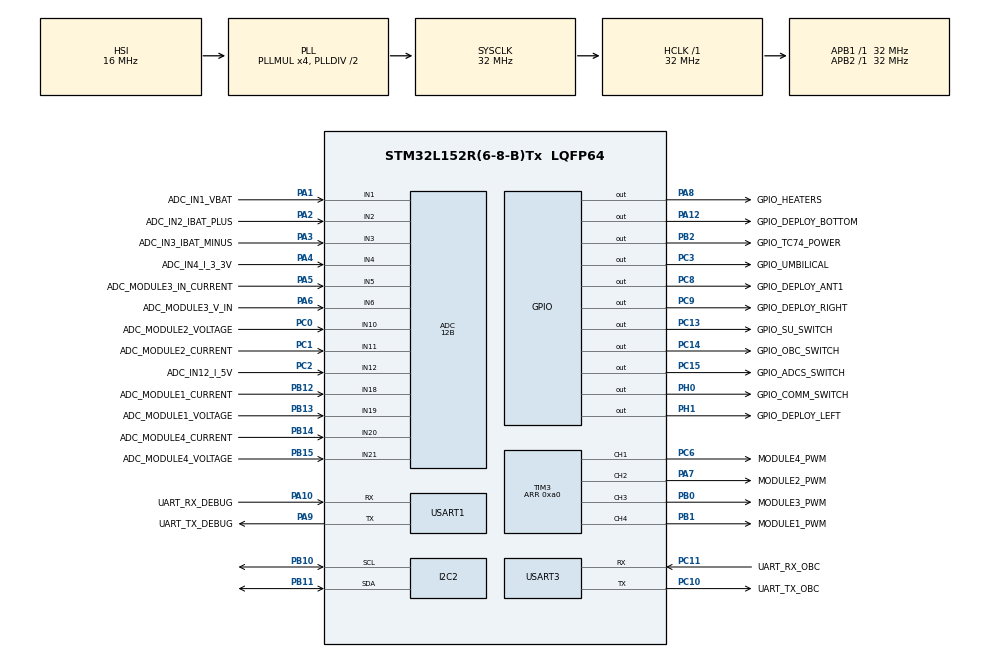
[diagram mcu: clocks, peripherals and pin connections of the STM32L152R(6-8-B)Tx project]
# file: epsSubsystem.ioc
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ADC.Channel-18\#ChannelRegularConversion=ADC_CHANNEL_11
ADC.Channel-19\#ChannelRegularConversion=ADC_CHANNEL_10
ADC.Channel-20\#ChannelRegularConversion=ADC_CHANNEL_5
ADC.Channel-21\#ChannelRegularConversion=ADC_CHANNEL_6
ADC.Channel-22\#ChannelRegularConversion=ADC_CHANNEL_20
ADC.Channel-23\#ChannelRegularConversion=ADC_CHANNEL_21
ADC.Channel-24\#ChannelRegularConversion=ADC_CHANNEL_1
ADC.Channel-25\#ChannelRegularConversion=ADC_CHANNEL_2
ADC.Channel-26\#ChannelRegularConversion=ADC_CHANNEL_3
ADC.Channel-27\#ChannelRegularConversion=ADC_CHANNEL_4
ADC.Channel-28\#ChannelRegularConversion=ADC_CHANNEL_12
ADC.Channel-29\#ChannelRegularConversion=ADC_CHANNEL_TEMPSENSOR
ADC.Channel-4\#ChannelRegularConversion=ADC_CHANNEL_18
ADC.Channel-5\#ChannelRegularConversion=ADC_CHANNEL_19
ADC.ClockPrescaler=ADC_CLOCK_ASYNC_DIV1
ADC.ContinuousConvMode=ENABLE
ADC.DMAContinuousRequests=ENABLE
ADC.DataAlign=ADC_DATAALIGN_RIGHT
ADC.DiscontinuousConvMode=DISABLE
ADC.EOCSelection=ADC_EOC_SINGLE_CONV
ADC.EnableAnalogWatchDog=false
ADC.ExternalTrigConvEdge=ADC_EXTERNALTRIGCONVEDGE_NONE
ADC.InjNumberOfConversion=0
ADC.LowPowerAutoPowerOff=ADC_AUTOPOWEROFF_DISABLE
ADC.LowPowerAutoWait=ADC_AUTOWAIT_DISABLE
ADC.NbrOfConversion=14
ADC.NbrOfConversionFlag=1
ADC.Rank-18\#ChannelRegularConversion=3
ADC.Rank-19\#ChannelRegularConversion=4
ADC.Rank-20\#ChannelRegularConversion=5
ADC.Rank-21\#ChannelRegularConversion=6
ADC.Rank-22\#ChannelRegularConversion=7
ADC.Rank-23\#ChannelRegularConversion=8
ADC.Rank-24\#ChannelRegularConversion=9
ADC.Rank-25\#ChannelRegularConversion=10
ADC.Rank-26\#ChannelRegularConversion=11
ADC.Rank-27\#ChannelRegularConversion=12
ADC.Rank-28\#ChannelRegularConversion=13
ADC.Rank-29\#ChannelRegularConversion=14
ADC.Rank-4\#ChannelRegularConversion=1
ADC.Rank-5\#ChannelRegularConversion=2
ADC.Resolution=ADC_RESOLUTION_12B
ADC.SamplingTime-18\#ChannelRegularConversion=ADC_SAMPLETIME_4CYCLES
ADC.SamplingTime-19\#ChannelRegularConversion=ADC_SAMPLETIME_4CYCLES
ADC.SamplingTime-20\#ChannelRegularConversion=ADC_SAMPLETIME_4CYCLES
ADC.SamplingTime-21\#ChannelRegularConversion=ADC_SAMPLETIME_4CYCLES
ADC.SamplingTime-22\#ChannelRegularConversion=ADC_SAMPLETIME_4CYCLES
ADC.SamplingTime-23\#ChannelRegularConversion=ADC_SAMPLETIME_4CYCLES
ADC.SamplingTime-24\#ChannelRegularConversion=ADC_SAMPLETIME_4CYCLES
ADC.SamplingTime-25\#ChannelRegularConversion=ADC_SAMPLETIME_4CYCLES
ADC.SamplingTime-26\#ChannelRegularConversion=ADC_SAMPLETIME_4CYCLES
ADC.SamplingTime-27\#ChannelRegularConversion=ADC_SAMPLETIME_4CYCLES
ADC.SamplingTime-28\#ChannelRegularConversion=ADC_SAMPLETIME_4CYCLES
ADC.SamplingTime-29\#ChannelRegularConversion=ADC_SAMPLETIME_4CYCLES
ADC.SamplingTime-4\#ChannelRegularConversion=ADC_SAMPLETIME_4CYCLES
ADC.SamplingTime-5\#ChannelRegularConversion=ADC_SAMPLETIME_4CYCLES
ADC.ScanConvMode=ADC_SCAN_ENABLE
Dma.ADC.0.Direction=DMA_PERIPH_TO_MEMORY
Dma.ADC.0.Instance=DMA1_Channel1
Dma.ADC.0.MemDataAlignment=DMA_MDATAALIGN_WORD
Dma.ADC.0.MemInc=DMA_MINC_ENABLE
Dma.ADC.0.Mode=DMA_CIRCULAR
Dma.ADC.0.PeriphDataAlignment=DMA_PDATAALIGN_WORD
Dma.ADC.0.PeriphInc=DMA_PINC_DISABLE
Dma.ADC.0.Priority=DMA_PRIORITY_HIGH
Dma.Request0=ADC
Dma.Request1=USART1_RX
Dma.Request2=USART1_TX
Dma.Request3=USART3_RX
Dma.Request4=USART3_TX
Dma.USART1_RX.1.Direction=DMA_PERIPH_TO_MEMORY
Dma.USART1_RX.1.Instance=DMA1_Channel5
Dma.USART1_RX.1.MemDataAlignment=DMA_MDATAALIGN_BYTE
Dma.USART1_RX.1.MemInc=DMA_MINC_ENABLE
Dma.USART1_RX.1.Mode=DMA_NORMAL
Dma.USART1_RX.1.PeriphDataAlignment=DMA_PDATAALIGN_BYTE
Dma.USART1_RX.1.PeriphInc=DMA_PINC_DISABLE
Dma.USART1_RX.1.Priority=DMA_PRIORITY_LOW
Dma.USART1_TX.2.Direction=DMA_MEMORY_TO_PERIPH
Dma.USART1_TX.2.Instance=DMA1_Channel4
Dma.USART1_TX.2.MemDataAlignment=DMA_MDATAALIGN_BYTE
Dma.USART1_TX.2.MemInc=DMA_MINC_ENABLE
Dma.USART1_TX.2.Mode=DMA_NORMAL
Dma.USART1_TX.2.PeriphDataAlignment=DMA_PDATAALIGN_BYTE
Dma.USART1_TX.2.PeriphInc=DMA_PINC_DISABLE
Dma.USART1_TX.2.Priority=DMA_PRIORITY_LOW
Dma.USART3_RX.3.Direction=DMA_PERIPH_TO_MEMORY
Dma.USART3_RX.3.Instance=DMA1_Channel3
Dma.USART3_RX.3.MemDataAlignment=DMA_MDATAALIGN_BYTE
Dma.USART3_RX.3.MemInc=DMA_MINC_ENABLE
Dma.USART3_RX.3.Mode=DMA_NORMAL
Dma.USART3_RX.3.PeriphDataAlignment=DMA_PDATAALIGN_BYTE
Dma.USART3_RX.3.PeriphInc=DMA_PINC_DISABLE
Dma.USART3_RX.3.Priority=DMA_PRIORITY_LOW
Dma.USART3_TX.4.Direction=DMA_MEMORY_TO_PERIPH
Dma.USART3_TX.4.Instance=DMA1_Channel2
Dma.USART3_TX.4.MemDataAlignment=DMA_MDATAALIGN_BYTE
Dma.USART3_TX.4.MemInc=DMA_MINC_ENABLE
Dma.USART3_TX.4.Mode=DMA_NORMAL
Dma.USART3_TX.4.PeriphDataAlignment=DMA_PDATAALIGN_BYTE
Dma.USART3_TX.4.PeriphInc=DMA_PINC_DISABLE
Dma.USART3_TX.4.Priority=DMA_PRIORITY_LOW
Mcu.Family=STM32L1
Mcu.Name=STM32L152R(6-8-B)Tx
Mcu.Package=LQFP64
NVIC.ADC1_IRQn=true\:0\:0\:false\:false\:true
NVIC.DMA1_Channel1_IRQn=true\:0\:0\:false\:false\:true
NVIC.DMA1_Channel2_IRQn=true\:0\:0\:false\:false\:true
NVIC.DMA1_Channel3_IRQn=true\:0\:0\:false\:false\:true
NVIC.DMA1_Channel4_IRQn=true\:0\:0\:false\:false\:true
NVIC.DMA1_Channel5_IRQn=true\:0\:0\:false\:false\:true
NVIC.PriorityGroup=NVIC_PRIORITYGROUP_4
NVIC.TIM6_IRQn=true\:0\:0\:false\:false\:true
PA1.GPIO_Label=ADC_IN1_VBAT
PA1.Mode=IN1
PA1.Signal=ADC_IN1
PA10.GPIO_Label=UART_RX_DEBUG
PA10.Mode=Asynchronous
PA10.Signal=USART1_RX
PA12.GPIO_Label=GPIO_DEPLOY_BOTTOM
PA12.Signal=GPIO_Output
PA13.Mode=Trace-Asynchronous_SW
PA13.Signal=SYS_JTMS-SWDIO
PA14.Mode=Trace-Asynchronous_SW
PA14.Signal=SYS_JTCK-SWCLK
PA2.GPIO_Label=ADC_IN2_IBAT_PLUS
PA2.Mode=IN2
PA2.Signal=ADC_IN2
PA3.GPIO_Label=ADC_IN3_IBAT_MINUS
PA3.Mode=IN3
PA3.Signal=ADC_IN3
PA4.GPIO_Label=ADC_IN4_I_3_3V
PA4.Mode=IN4
PA4.Signal=ADC_IN4
PA5.GPIO_Label=ADC_MODULE3_IN_CURRENT
PA5.Mode=IN5
PA5.Signal=ADC_IN5
PA6.GPIO_Label=ADC_MODULE3_V_IN
PA6.Mode=IN6
PA6.Signal=ADC_IN6
PA7.GPIO_Label=MODULE2_PWM
PA7.Signal=S_TIM3_CH2
PA8.GPIO_Label=GPIO_HEATERS
PA8.Signal=GPIO_Output
PA9.GPIO_Label=UART_TX_DEBUG
PA9.Mode=Asynchronous
PA9.Signal=USART1_TX
PB0.GPIO_Label=MODULE3_PWM
PB0.Signal=S_TIM3_CH3
PB1.GPIO_Label=MODULE1_PWM
PB1.Signal=S_TIM3_CH4
PB10.Mode=I2C
PB10.Signal=I2C2_SCL
PB11.Mode=I2C
PB11.Signal=I2C2_SDA
PB12.GPIO_Label=ADC_MODULE1_CURRENT
PB12.Mode=IN18
PB12.Signal=ADC_IN18
PB13.GPIO_Label=ADC_MODULE1_VOLTAGE
PB13.Mode=IN19
PB13.Signal=ADC_IN19
PB14.GPIO_Label=ADC_MODULE4_CURRENT
PB14.Mode=IN20
PB14.Signal=ADC_IN20
PB15.GPIO_Label=ADC_MODULE4_VOLTAGE
PB15.Mode=IN21
PB15.Signal=ADC_IN21
PB2.GPIO_Label=GPIO_TC74_POWER
PB2.Signal=GPIO_Output
PB3.Mode=Trace-Asynchronous_SW
PB3.Signal=SYS_JTDO-TRACESWO
PC0.GPIO_Label=ADC_MODULE2_VOLTAGE
PC0.Mode=IN10
PC0.Signal=ADC_IN10
PC1.GPIO_Label=ADC_MODULE2_CURRENT
PC1.Mode=IN11
PC1.Signal=ADC_IN11
PC10.GPIO_Label=UART_TX_OBC
PC10.Mode=Asynchronous
PC10.Signal=USART3_TX
PC11.GPIO_Label=UART_RX_OBC
PC11.Mode=Asynchronous
PC11.Signal=USART3_RX
PC13-WKUP2.GPIO_Label=GPIO_SU_SWITCH
PC13-WKUP2.Signal=GPIO_Output
PC14-OSC32_IN.GPIO_Label=GPIO_OBC_SWITCH
PC14-OSC32_IN.Signal=GPIO_Output
PC15-OSC32_OUT.GPIO_Label=GPIO_ADCS_SWITCH
PC15-OSC32_OUT.Signal=GPIO_Output
PC2.GPIO_Label=ADC_IN12_I_5V
PC2.Mode=IN12
PC2.Signal=ADC_IN12
PC3.GPIO_Label=GPIO_UMBILICAL
PC3.Signal=GPIO_Output
PC6.GPIO_Label=MODULE4_PWM
PC6.Signal=S_TIM3_CH1
PC8.GPIO_Label=GPIO_DEPLOY_ANT1
PC8.Signal=GPIO_Output
PC9.GPIO_Label=GPIO_DEPLOY_RIGHT
PC9.Signal=GPIO_Output
PH0-OSC_IN.GPIO_Label=GPIO_COMM_SWITCH
PH0-OSC_IN.Signal=GPIO_Output
PH1-OSC_OUT.GPIO_Label=GPIO_DEPLOY_LEFT
PH1-OSC_OUT.Signal=GPIO_Output
ProjectManager.HeapSize=0x400
ProjectManager.StackSize=0x200
ProjectManager.TargetToolchain=SW4STM32
RCC.AHBFreq_Value=32000000
RCC.APB1Freq_Value=32000000
RCC.APB1TimFreq_Value=32000000
RCC.APB2Freq_Value=32000000
RCC.APB2TimFreq_Value=32000000
RCC.HCLKFreq_Value=32000000
RCC.HSE_VALUE=24000000
RCC.HSI_VALUE=16000000
RCC.LSE_VALUE=32768
RCC.MSI_VALUE=2097000
RCC.PLLMUL=RCC_PLL_MUL4
RCC.SYSCLKFreq_VALUE=32000000
RCC.SYSCLKSource=RCC_SYSCLKSOURCE_PLLCLK
RCC.USBOutput=32000000
RCC.VCOOutputFreq_Value=64000000
SH.S_TIM3_CH1.0=TIM3_CH1,PWM Generation1 CH1
SH.S_TIM3_CH2.0=TIM3_CH2,PWM Generation2 CH2
SH.S_TIM3_CH3.0=TIM3_CH3,PWM Generation3 CH3
SH.S_TIM3_CH4.0=TIM3_CH4,PWM Generation4 CH4
TIM3.Channel-PWM\ Generation2\ CH2=TIM_CHANNEL_2
TIM3.Channel-PWM\ Generation3\ CH3=TIM_CHANNEL_3
TIM3.Channel-PWM\ Generation4\ CH4=TIM_CHANNEL_4
TIM3.OCFastMode_PWM-PWM\ Generation1\ CH1=TIM_OCFAST_ENABLE
TIM3.OCFastMode_PWM-PWM\ Generation2\ CH2=TIM_OCFAST_ENABLE
TIM3.OCFastMode_PWM-PWM\ Generation3\ CH3=TIM_OCFAST_ENABLE
TIM3.OCFastMode_PWM-PWM\ Generation4\ CH4=TIM_OCFAST_ENABLE
TIM3.Period=0xa0
TIM3.Pulse-PWM\ Generation1\ CH1=0x50
TIM3.Pulse-PWM\ Generation2\ CH2=0x50
TIM3.Pulse-PWM\ Generation3\ CH3=0x50
TIM3.Pulse-PWM\ Generation4\ CH4=0x50
TIM6.Period=50000
TIM6.Prescaler=640
VP_ADC_TempSens_Input.Mode=IN-TempSens
VP_TIM6_VS_ClockSourceINT.Mode=Enable_Timer
board=EpsBoardTest

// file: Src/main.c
/**
  ******************************************************************************
  * File Name          : main.c
  * Description        : Main program body
  ******************************************************************************
  *
  * COPYRIGHT(c) 2016 STMicroelectronics
  *
  * Redistribution and use in source and binary forms, with or without modification,
  * are permitted provided that the following conditions are met:
  *   1. Redistributions of source code must retain the above copyright notice,
  *      this list of conditions and the following disclaimer.
  *   2. Redistributions in binary form must reproduce the above copyright notice,
  *      this list of conditions and the following disclaimer in the documentation
  *      and/or other materials provided with the distribution.
  *   3. Neither the name of STMicroelectronics nor the names of its contributors
  *      may be used to endorse or promote products derived from this software
  *      without specific prior written permission.
  *
  * THIS SOFTWARE IS PROVIDED BY THE COPYRIGHT HOLDERS AND CONTRIBUTORS "AS IS"
  * AND ANY EXPRESS OR IMPLIED WARRANTIES, INCLUDING, BUT NOT LIMITED TO, THE
  * IMPLIED WARRANTIES OF MERCHANTABILITY AND FITNESS FOR A PARTICULAR PURPOSE ARE
  * DISCLAIMED. IN NO EVENT SHALL THE COPYRIGHT HOLDER OR CONTRIBUTORS BE LIABLE
  * FOR ANY DIRECT, INDIRECT, INCIDENTAL, SPECIAL, EXEMPLARY, OR CONSEQUENTIAL
  * DAMAGES (INCLUDING, BUT NOT LIMITED TO, PROCUREMENT OF SUBSTITUTE GOODS OR
  * SERVICES; LOSS OF USE, DATA, OR PROFITS; OR BUSINESS INTERRUPTION) HOWEVER
  * CAUSED AND ON ANY THEORY OF LIABILITY, WHETHER IN CONTRACT, STRICT LIABILITY,
  * OR TORT (INCLUDING NEGLIGENCE OR OTHERWISE) ARISING IN ANY WAY OUT OF THE USE
  * OF THIS SOFTWARE, EVEN IF ADVISED OF THE POSSIBILITY OF SUCH DAMAGE.
  *
  ******************************************************************************
  */
#include "stm32l1xx_hal.h"

/* USER CODE BEGIN Includes */
#define TIMED_EVENT_PERIOD ((uint8_t)50)//in miliseconds
#define MPPT_STEP_SIZE ((uint32_t)2)
#define STARTUP_PWM_DUTYCYCLE ((uint32_t) 50)

typedef struct {
	uint8_t su_p_switch;/*Science unit control switch - set to turn off - reset to turn on (!inverted logic!)*/
	uint8_t obc_p_switch;
	uint8_t adcs_p_switch;
	uint8_t comm_p_switch;
	uint8_t i2c_tc74_p_switch;
	/**/
	uint8_t deploy_left_switch;
	uint8_t deploy_right_switch;
	uint8_t deploy_bottom_switch;
	uint8_t deploy_ant1_switch;
	uint8_t umbilical_switch;
	uint8_t heaters_switch;
    /**/
	uint16_t module_left_voltage_avg;
	uint16_t module_left_current_avg;
	uint32_t module_left_power_avg;
    /**/
	uint16_t module_right_voltage_avg;
	uint16_t module_right_current_avg;
	uint32_t module_right_power_avg;
	    /**/
	uint16_t module_top_voltage_avg;
	uint16_t module_top_current_avg;
	uint32_t module_top_power_avg;
	    /**/
	uint16_t module_bottom_voltage_avg;
	uint16_t module_bottom_current_avg;
	uint32_t module_bottom_power_avg;
	/**/
	uint16_t v5_current_avg;
	uint16_t v3_3_current_avg;
	uint16_t battery_voltage;
	uint16_t battery_current_plus;
	uint16_t battery_current_minus;
	int8_t 	 battery_temp;
	uint32_t cpu_temperature;
}EPS_State;

typedef struct {
	uint16_t voltage; /*average voltage at each mppt step*/
	uint16_t current; /*average curret at each mppt step*/
	uint32_t previous_power; /*average power at previous mppt step*/
	uint8_t incremennt_flag;/*flag for mppt algorithm must be initialized to 1*/
	uint32_t pwm_duty_cycle; /*duty cycle of power module pwm output*/
	//uint8_t  module_id;/*module id index staring from zero.*/
	TIM_HandleTypeDef *htim_pwm;/*assign wich timer is assigned for this pwm output*/
	uint32_t timChannel;/*assign the proper timer channel assigned to module pwm output*/

}EPS_PowerModule;

/* USER CODE END Includes */

ADC_HandleTypeDef hadc;
DMA_HandleTypeDef hdma_adc;

I2C_HandleTypeDef hi2c2;

TIM_HandleTypeDef htim3;
TIM_HandleTypeDef htim6;

UART_HandleTypeDef huart1;
UART_HandleTypeDef huart3;
DMA_HandleTypeDef hdma_usart1_rx;
DMA_HandleTypeDef hdma_usart1_tx;
DMA_HandleTypeDef hdma_usart3_rx;
DMA_HandleTypeDef hdma_usart3_tx;

/* USER CODE BEGIN PV */
/* Private variables ---------------------------------------------------------*/

volatile uint8_t EPS_soft_error_status = 0x00;//initialize global software error status to false.
volatile uint8_t EPS_event_period_status = 0xFF;//initialize global timed event flag to true.
volatile uint8_t adc_reading_complete = 0;//flag to check when dma transfer is complete.

EPS_State eps_board_state;
EPS_PowerModule power_module_top, power_module_bottom, power_module_left, power_module_right;

uint32_t adc_measurement_dma_power_modules[137]= { 0 };//20*8 +1
uint32_t adc_measurement_dma_eps_state[13]= { 0 };//2*6 +1

/* USER CODE END PV */

void SystemClock_Config(void);
static void MX_GPIO_Init(void);
static void MX_DMA_Init(void);
static void MX_ADC_Init(void);
static void MX_TIM3_Init(void);
static void MX_I2C2_Init(void);
static void MX_USART1_UART_Init(void);
static void MX_USART3_UART_Init(void);
static void MX_TIM6_Init(void);

void HAL_TIM_MspPostInit(TIM_HandleTypeDef *htim);

/* USER CODE BEGIN PFP */
/* Private function prototypes -----------------------------------------------*/
void EPS_PowerModule_init(EPS_PowerModule *module_X,uint32_t starting_pwm_dutycycle,TIM_HandleTypeDef *htim, uint32_t timer_channel);
void EPS_update_power_modules_state(EPS_PowerModule *module_top, EPS_PowerModule *module_bottom, EPS_PowerModule *module_left, EPS_PowerModule *module_right);
void EPS_PowerModule_mppt_update_pwm(EPS_PowerModule *moduleX);
void EPS_PowerModule_mppt_apply_pwm(EPS_PowerModule *moduleX);
void EPS_update_state(volatile EPS_State *state);
void EPS_state_init(volatile EPS_State *state);

void ADC_EPS_POWER_MODULES_Init(void);
void ADC_EPS_STATE_Init(void);

/* USER CODE END PFP */

int main(void)
{

  /* MCU Configuration----------------------------------------------------------*/

  /* Reset of all peripherals, Initializes the Flash interface and the Systick. */
  HAL_Init();

  /* Configure the system clock */
  SystemClock_Config();

  /* Initialize all configured peripherals */
  MX_GPIO_Init();
  MX_DMA_Init();
  MX_ADC_Init();
  MX_TIM3_Init();
  MX_I2C2_Init();
  MX_USART1_UART_Init();
  MX_USART3_UART_Init();
  MX_TIM6_Init();

  /* USER CODE BEGIN 2 */
  HAL_TIM_Base_Start(&htim3);
  HAL_TIM_PWM_Start(&htim3, TIM_CHANNEL_1);
  HAL_TIM_PWM_Start(&htim3, TIM_CHANNEL_2);
  HAL_TIM_PWM_Start(&htim3, TIM_CHANNEL_3);//top
  HAL_TIM_PWM_Start(&htim3, TIM_CHANNEL_4);
  //initial checks: chech if deploymet has happened and handle it.

  /* USER CODE END 2 */

  /* Infinite loop */
  /* USER CODE BEGIN WHILE */

  //init eps module (eps state initial value)
  EPS_state_init(&eps_board_state);

  //init power modules 1,2,3,4 and mppt
  EPS_PowerModule_init(&power_module_top, STARTUP_PWM_DUTYCYCLE, &htim3, 1);
  EPS_PowerModule_init(&power_module_bottom, STARTUP_PWM_DUTYCYCLE, &htim3, 2);
  EPS_PowerModule_init(&power_module_left, STARTUP_PWM_DUTYCYCLE, &htim3, 3);
  EPS_PowerModule_init(&power_module_right, STARTUP_PWM_DUTYCYCLE, &htim3, 4);

  //kick timer interupt for timed threads.

  HAL_ADC_Stop(&hadc);

  while (1)
  {
  /* USER CODE END WHILE */

  /* USER CODE BEGIN 3 */

	  //set error status
	  EPS_soft_error_status = 0xff;

	  //check timed thread ( eps_state update + mppt_pwm_update for each power module)
	  EPS_event_period_status = 0xff;//for now set it here for debug - it will be normally set by timer interrupt every TIMED_EVENT_PERIOD msec
	  if(EPS_event_period_status){

		  //update eps state
		  EPS_update_state( &eps_board_state);

		  //update power modules state
		  EPS_update_power_modules_state(&power_module_top, &power_module_bottom, &power_module_left, &power_module_right);
		  //mppt_pwm_update
//		  EPS_PowerModule_mppt_update_pwm(&power_module_top);
//		  EPS_PowerModule_mppt_apply_pwm(&power_module_top);//bottom
//
//		  //htim3.Instance->CCR1 = power_module_top.pwm_duty_cycle;
//
//		  EPS_PowerModule_mppt_update_pwm(&power_module_bottom);
//		  EPS_PowerModule_mppt_apply_pwm(&power_module_bottom);//left
//
//		  EPS_PowerModule_mppt_update_pwm(&power_module_left);
//		  EPS_PowerModule_mppt_apply_pwm(&power_module_left);//top

		  EPS_PowerModule_mppt_update_pwm(&power_module_right);
		  EPS_PowerModule_mppt_apply_pwm(&power_module_right);//right

		  EPS_event_period_status = 0x00;//reset event period status so as to be set into the timer interupt.
	  }

	  //if obc communication flag (set by uart interupt?dma?whateva) service obc uart ting

	  //reset errror_status
	  EPS_soft_error_status = 0x00;

	  //kill systick and sleep with WaitForInterupt with timer + UART peripherals on
	  HAL_Delay(TIMED_EVENT_PERIOD);//pros to paron me delay...

  }
  /* USER CODE END 3 */

}

/** System Clock Configuration
*/
void SystemClock_Config(void)
{

  RCC_OscInitTypeDef RCC_OscInitStruct;
  RCC_ClkInitTypeDef RCC_ClkInitStruct;

  __HAL_RCC_PWR_CLK_ENABLE();

  __HAL_PWR_VOLTAGESCALING_CONFIG(PWR_REGULATOR_VOLTAGE_SCALE1);

  RCC_OscInitStruct.OscillatorType = RCC_OSCILLATORTYPE_HSI;
  RCC_OscInitStruct.HSIState = RCC_HSI_ON;
  RCC_OscInitStruct.HSICalibrationValue = 16;
  RCC_OscInitStruct.PLL.PLLState = RCC_PLL_ON;
  RCC_OscInitStruct.PLL.PLLSource = RCC_PLLSOURCE_HSI;
  RCC_OscInitStruct.PLL.PLLMUL = RCC_PLL_MUL4;
  RCC_OscInitStruct.PLL.PLLDIV = RCC_PLL_DIV2;
  HAL_RCC_OscConfig(&RCC_OscInitStruct);

  RCC_ClkInitStruct.ClockType = RCC_CLOCKTYPE_HCLK|RCC_CLOCKTYPE_SYSCLK
                              |RCC_CLOCKTYPE_PCLK1|RCC_CLOCKTYPE_PCLK2;
  RCC_ClkInitStruct.SYSCLKSource = RCC_SYSCLKSOURCE_PLLCLK;
  RCC_ClkInitStruct.AHBCLKDivider = RCC_SYSCLK_DIV1;
  RCC_ClkInitStruct.APB1CLKDivider = RCC_HCLK_DIV1;
  RCC_ClkInitStruct.APB2CLKDivider = RCC_HCLK_DIV1;
  HAL_RCC_ClockConfig(&RCC_ClkInitStruct, FLASH_LATENCY_1);

  HAL_SYSTICK_Config(HAL_RCC_GetHCLKFreq()/1000);

  HAL_SYSTICK_CLKSourceConfig(SYSTICK_CLKSOURCE_HCLK);

  /* SysTick_IRQn interrupt configuration */
  HAL_NVIC_SetPriority(SysTick_IRQn, 0, 0);
}

/* ADC init function */
void MX_ADC_Init(void)
{

  ADC_ChannelConfTypeDef sConfig;

    /**Configure the global features of the ADC (Clock, Resolution, Data Alignment and number of conversion)
    */
  hadc.Instance = ADC1;
  hadc.Init.ClockPrescaler = ADC_CLOCK_ASYNC_DIV1;
  hadc.Init.Resolution = ADC_RESOLUTION_12B;
  hadc.Init.DataAlign = ADC_DATAALIGN_RIGHT;
  hadc.Init.ScanConvMode = ADC_SCAN_ENABLE;
  hadc.Init.EOCSelection = ADC_EOC_SINGLE_CONV;
  hadc.Init.LowPowerAutoWait = ADC_AUTOWAIT_DISABLE;
  hadc.Init.LowPowerAutoPowerOff = ADC_AUTOPOWEROFF_DISABLE;
  hadc.Init.ChannelsBank = ADC_CHANNELS_BANK_A;
  hadc.Init.ContinuousConvMode = ENABLE;
  hadc.Init.NbrOfConversion = 14;
  hadc.Init.DiscontinuousConvMode = DISABLE;
  hadc.Init.ExternalTrigConv = ADC_SOFTWARE_START;
  hadc.Init.ExternalTrigConvEdge = ADC_EXTERNALTRIGCONVEDGE_NONE;
  hadc.Init.DMAContinuousRequests = ENABLE;
  HAL_ADC_Init(&hadc);

    /**Configure for the selected ADC regular channel its corresponding rank in the sequencer and its sample time.
    */
  sConfig.Channel = ADC_CHANNEL_18;
  sConfig.Rank = 1;
  sConfig.SamplingTime = ADC_SAMPLETIME_4CYCLES;
  HAL_ADC_ConfigChannel(&hadc, &sConfig);

    /**Configure for the selected ADC regular channel its corresponding rank in the sequencer and its sample time.
    */
  sConfig.Channel = ADC_CHANNEL_19;
  sConfig.Rank = 2;
  HAL_ADC_ConfigChannel(&hadc, &sConfig);

    /**Configure for the selected ADC regular channel its corresponding rank in the sequencer and its sample time.
    */
  sConfig.Channel = ADC_CHANNEL_11;
  sConfig.Rank = 3;
  HAL_ADC_ConfigChannel(&hadc, &sConfig);

    /**Configure for the selected ADC regular channel its corresponding rank in the sequencer and its sample time.
    */
  sConfig.Channel = ADC_CHANNEL_10;
  sConfig.Rank = 4;
  HAL_ADC_ConfigChannel(&hadc, &sConfig);

    /**Configure for the selected ADC regular channel its corresponding rank in the sequencer and its sample time.
    */
  sConfig.Channel = ADC_CHANNEL_5;
  sConfig.Rank = 5;
  HAL_ADC_ConfigChannel(&hadc, &sConfig);

    /**Configure for the selected ADC regular channel its corresponding rank in the sequencer and its sample time.
    */
  sConfig.Channel = ADC_CHANNEL_6;
  sConfig.Rank = 6;
  HAL_ADC_ConfigChannel(&hadc, &sConfig);

    /**Configure for the selected ADC regular channel its corresponding rank in the sequencer and its sample time.
    */
  sConfig.Channel = ADC_CHANNEL_20;
  sConfig.Rank = 7;
  HAL_ADC_ConfigChannel(&hadc, &sConfig);

    /**Configure for the selected ADC regular channel its corresponding rank in the sequencer and its sample time.
    */
  sConfig.Channel = ADC_CHANNEL_21;
  sConfig.Rank = 8;
  HAL_ADC_ConfigChannel(&hadc, &sConfig);

    /**Configure for the selected ADC regular channel its corresponding rank in the sequencer and its sample time.
    */
  sConfig.Channel = ADC_CHANNEL_1;
  sConfig.Rank = 9;
  HAL_ADC_ConfigChannel(&hadc, &sConfig);

    /**Configure for the selected ADC regular channel its corresponding rank in the sequencer and its sample time.
    */
  sConfig.Channel = ADC_CHANNEL_2;
  sConfig.Rank = 10;
  HAL_ADC_ConfigChannel(&hadc, &sConfig);

    /**Configure for the selected ADC regular channel its corresponding rank in the sequencer and its sample time.
    */
  sConfig.Channel = ADC_CHANNEL_3;
  sConfig.Rank = 11;
  HAL_ADC_ConfigChannel(&hadc, &sConfig);

    /**Configure for the selected ADC regular channel its corresponding rank in the sequencer and its sample time.
    */
  sConfig.Channel = ADC_CHANNEL_4;
  sConfig.Rank = 12;
  HAL_ADC_ConfigChannel(&hadc, &sConfig);

    /**Configure for the selected ADC regular channel its corresponding rank in the sequencer and its sample time.
    */
  sConfig.Channel = ADC_CHANNEL_12;
  sConfig.Rank = 13;
  HAL_ADC_ConfigChannel(&hadc, &sConfig);

    /**Configure for the selected ADC regular channel its corresponding rank in the sequencer and its sample time.
    */
  sConfig.Channel = ADC_CHANNEL_TEMPSENSOR;
  sConfig.Rank = 14;
  HAL_ADC_ConfigChannel(&hadc, &sConfig);

}

/* I2C2 init function */
void MX_I2C2_Init(void)
{

  hi2c2.Instance = I2C2;
  hi2c2.Init.ClockSpeed = 100000;
  hi2c2.Init.DutyCycle = I2C_DUTYCYCLE_2;
  hi2c2.Init.OwnAddress1 = 0;
  hi2c2.Init.AddressingMode = I2C_ADDRESSINGMODE_7BIT;
  hi2c2.Init.DualAddressMode = I2C_DUALADDRESS_DISABLE;
  hi2c2.Init.OwnAddress2 = 0;
  hi2c2.Init.GeneralCallMode = I2C_GENERALCALL_DISABLE;
  hi2c2.Init.NoStretchMode = I2C_NOSTRETCH_DISABLE;
  HAL_I2C_Init(&hi2c2);

}

/* TIM3 init function */
void MX_TIM3_Init(void)
{

  TIM_MasterConfigTypeDef sMasterConfig;
  TIM_OC_InitTypeDef sConfigOC;

  htim3.Instance = TIM3;
  htim3.Init.Prescaler = 0;
  htim3.Init.CounterMode = TIM_COUNTERMODE_UP;
  htim3.Init.Period = 0xa0;
  htim3.Init.ClockDivision = TIM_CLOCKDIVISION_DIV1;
  HAL_TIM_PWM_Init(&htim3);

  sMasterConfig.MasterOutputTrigger = TIM_TRGO_RESET;
  sMasterConfig.MasterSlaveMode = TIM_MASTERSLAVEMODE_DISABLE;
  HAL_TIMEx_MasterConfigSynchronization(&htim3, &sMasterConfig);

  sConfigOC.OCMode = TIM_OCMODE_PWM1;
  sConfigOC.Pulse = 0x50;
  sConfigOC.OCPolarity = TIM_OCPOLARITY_HIGH;
  sConfigOC.OCFastMode = TIM_OCFAST_ENABLE;
  HAL_TIM_PWM_ConfigChannel(&htim3, &sConfigOC, TIM_CHANNEL_1);

  HAL_TIM_PWM_ConfigChannel(&htim3, &sConfigOC, TIM_CHANNEL_2);

  HAL_TIM_PWM_ConfigChannel(&htim3, &sConfigOC, TIM_CHANNEL_3);

  HAL_TIM_PWM_ConfigChannel(&htim3, &sConfigOC, TIM_CHANNEL_4);

  HAL_TIM_MspPostInit(&htim3);

}

/* TIM6 init function */
void MX_TIM6_Init(void)
{

  TIM_MasterConfigTypeDef sMasterConfig;

  htim6.Instance = TIM6;
  htim6.Init.Prescaler = 640;
  htim6.Init.CounterMode = TIM_COUNTERMODE_UP;
  htim6.Init.Period = 50000;
  HAL_TIM_Base_Init(&htim6);

  sMasterConfig.MasterOutputTrigger = TIM_TRGO_RESET;
  sMasterConfig.MasterSlaveMode = TIM_MASTERSLAVEMODE_DISABLE;
  HAL_TIMEx_MasterConfigSynchronization(&htim6, &sMasterConfig);

}

/* USART1 init function */
void MX_USART1_UART_Init(void)
{

  huart1.Instance = USART1;
  huart1.Init.BaudRate = 115200;
  huart1.Init.WordLength = UART_WORDLENGTH_8B;
  huart1.Init.StopBits = UART_STOPBITS_1;
  huart1.Init.Parity = UART_PARITY_NONE;
  huart1.Init.Mode = UART_MODE_TX_RX;
  huart1.Init.HwFlowCtl = UART_HWCONTROL_NONE;
  huart1.Init.OverSampling = UART_OVERSAMPLING_16;
  HAL_UART_Init(&huart1);

}

/* USART3 init function */
void MX_USART3_UART_Init(void)
{

  huart3.Instance = USART3;
  huart3.Init.BaudRate = 115200;
  huart3.Init.WordLength = UART_WORDLENGTH_8B;
  huart3.Init.StopBits = UART_STOPBITS_1;
  huart3.Init.Parity = UART_PARITY_NONE;
  huart3.Init.Mode = UART_MODE_TX_RX;
  huart3.Init.HwFlowCtl = UART_HWCONTROL_NONE;
  huart3.Init.OverSampling = UART_OVERSAMPLING_16;
  HAL_UART_Init(&huart3);

}

void MX_DMA_Init(void)
{
  /* DMA controller clock enable */
  __HAL_RCC_DMA1_CLK_ENABLE();

  /* DMA interrupt init */
  /* DMA1_Channel1_IRQn interrupt configuration */
  HAL_NVIC_SetPriority(DMA1_Channel1_IRQn, 0, 0);
  HAL_NVIC_EnableIRQ(DMA1_Channel1_IRQn);
  /* DMA1_Channel2_IRQn interrupt configuration */
  HAL_NVIC_SetPriority(DMA1_Channel2_IRQn, 0, 0);
  HAL_NVIC_EnableIRQ(DMA1_Channel2_IRQn);
  /* DMA1_Channel3_IRQn interrupt configuration */
  HAL_NVIC_SetPriority(DMA1_Channel3_IRQn, 0, 0);
  HAL_NVIC_EnableIRQ(DMA1_Channel3_IRQn);
  /* DMA1_Channel4_IRQn interrupt configuration */
  HAL_NVIC_SetPriority(DMA1_Channel4_IRQn, 0, 0);
  HAL_NVIC_EnableIRQ(DMA1_Channel4_IRQn);
  /* DMA1_Channel5_IRQn interrupt configuration */
  HAL_NVIC_SetPriority(DMA1_Channel5_IRQn, 0, 0);
  HAL_NVIC_EnableIRQ(DMA1_Channel5_IRQn);

}

/** Configure pins as
        * Analog
        * Input
        * Output
        * EVENT_OUT
        * EXTI
*/
void MX_GPIO_Init(void)
{

  GPIO_InitTypeDef GPIO_InitStruct;

  /* GPIO Ports Clock Enable */
  __HAL_RCC_GPIOC_CLK_ENABLE();
  __HAL_RCC_GPIOH_CLK_ENABLE();
  __HAL_RCC_GPIOA_CLK_ENABLE();
  __HAL_RCC_GPIOB_CLK_ENABLE();

  /*Configure GPIO pin Output Level */
  HAL_GPIO_WritePin(GPIOC, GPIO_SU_SWITCH_Pin|GPIO_OBC_SWITCH_Pin|GPIO_ADCS_SWITCH_Pin|GPIO_UMBILICAL_Pin
                          |GPIO_DEPLOY_ANT1_Pin|GPIO_DEPLOY_RIGHT_Pin, GPIO_PIN_RESET);

  /*Configure GPIO pin Output Level */
  HAL_GPIO_WritePin(GPIOH, GPIO_COMM_SWITCH_Pin|GPIO_DEPLOY_LEFT_Pin, GPIO_PIN_RESET);

  /*Configure GPIO pin Output Level */
  HAL_GPIO_WritePin(GPIO_TC74_POWER_GPIO_Port, GPIO_TC74_POWER_Pin, GPIO_PIN_RESET);

  /*Configure GPIO pin Output Level */
  HAL_GPIO_WritePin(GPIOA, GPIO_HEATERS_Pin|GPIO_DEPLOY_BOTTOM_Pin, GPIO_PIN_RESET);

  /*Configure GPIO pins : GPIO_SU_SWITCH_Pin GPIO_OBC_SWITCH_Pin GPIO_ADCS_SWITCH_Pin GPIO_UMBILICAL_Pin
                           GPIO_DEPLOY_ANT1_Pin GPIO_DEPLOY_RIGHT_Pin */
  GPIO_InitStruct.Pin = GPIO_SU_SWITCH_Pin|GPIO_OBC_SWITCH_Pin|GPIO_ADCS_SWITCH_Pin|GPIO_UMBILICAL_Pin
                          |GPIO_DEPLOY_ANT1_Pin|GPIO_DEPLOY_RIGHT_Pin;
  GPIO_InitStruct.Mode = GPIO_MODE_OUTPUT_PP;
  GPIO_InitStruct.Pull = GPIO_NOPULL;
  GPIO_InitStruct.Speed = GPIO_SPEED_FREQ_LOW;
  HAL_GPIO_Init(GPIOC, &GPIO_InitStruct);

  /*Configure GPIO pins : GPIO_COMM_SWITCH_Pin GPIO_DEPLOY_LEFT_Pin */
  GPIO_InitStruct.Pin = GPIO_COMM_SWITCH_Pin|GPIO_DEPLOY_LEFT_Pin;
  GPIO_InitStruct.Mode = GPIO_MODE_OUTPUT_PP;
  GPIO_InitStruct.Pull = GPIO_NOPULL;
  GPIO_InitStruct.Speed = GPIO_SPEED_FREQ_LOW;
  HAL_GPIO_Init(GPIOH, &GPIO_InitStruct);

  /*Configure GPIO pin : GPIO_TC74_POWER_Pin */
  GPIO_InitStruct.Pin = GPIO_TC74_POWER_Pin;
  GPIO_InitStruct.Mode = GPIO_MODE_OUTPUT_PP;
  GPIO_InitStruct.Pull = GPIO_NOPULL;
  GPIO_InitStruct.Speed = GPIO_SPEED_FREQ_LOW;
  HAL_GPIO_Init(GPIO_TC74_POWER_GPIO_Port, &GPIO_InitStruct);

  /*Configure GPIO pins : GPIO_HEATERS_Pin GPIO_DEPLOY_BOTTOM_Pin */
  GPIO_InitStruct.Pin = GPIO_HEATERS_Pin|GPIO_DEPLOY_BOTTOM_Pin;
  GPIO_InitStruct.Mode = GPIO_MODE_OUTPUT_PP;
  GPIO_InitStruct.Pull = GPIO_NOPULL;
  GPIO_InitStruct.Speed = GPIO_SPEED_FREQ_LOW;
  HAL_GPIO_Init(GPIOA, &GPIO_InitStruct);

}

/* USER CODE BEGIN 4 */
void EPS_PowerModule_init(EPS_PowerModule *module_X, uint32_t starting_pwm_dutycycle, TIM_HandleTypeDef *htim, uint32_t timer_channel){

	module_X->current =0;
	module_X->voltage =0;
	module_X->previous_power =0;
	module_X->pwm_duty_cycle = starting_pwm_dutycycle;
	//module_X->module_id = module_id;
	module_X->htim_pwm = htim;
	module_X->timChannel = timer_channel;
	module_X->incremennt_flag = 1;
}

void EPS_PowerModule_mppt_update_pwm(EPS_PowerModule *moduleX){

	//static uint8_t increment_flag = 1;//diplotriplotsekare oti to inint to kanei mono sthn arxh vlaks

	  /*power calculation*/

	  volatile uint32_t power_now_avg = moduleX->voltage * moduleX->current;
	  uint32_t duty_cycle = moduleX->pwm_duty_cycle;

	// decide duty cycle orientation - set increment flag.
	  if (power_now_avg  <(moduleX->previous_power)){

		  if (moduleX->incremennt_flag>0){
			  moduleX->incremennt_flag = 0;
		  }
		  else{
			  moduleX->incremennt_flag = 1;
		  }
	  }
    //add appropriate offset - create new duty cycle.

	  if(moduleX->incremennt_flag){
		  duty_cycle = duty_cycle+MPPT_STEP_SIZE;
	  }
	  else{
		  duty_cycle = duty_cycle-MPPT_STEP_SIZE;
	  }
 	  //Check for Overflow and Underflow
	  if (duty_cycle>350){duty_cycle=0;}
	  if (duty_cycle>320){duty_cycle=310;}
    // Set new PWM compare register
	  //duty_cycle =0;

	  moduleX->previous_power = power_now_avg;
	  moduleX->pwm_duty_cycle = duty_cycle;

}

void EPS_PowerModule_mppt_apply_pwm(EPS_PowerModule *moduleX){

	switch ( moduleX->timChannel ) {
	case 1:         /*  top module */
		moduleX->htim_pwm->Instance->CCR1 = moduleX->pwm_duty_cycle;
		break;
	case 2:         /*  bottom module */
		moduleX->htim_pwm->Instance->CCR2 = moduleX->pwm_duty_cycle;
		break;
	case 3:         /*  left module */
		moduleX->htim_pwm->Instance->CCR3 = moduleX->pwm_duty_cycle;
		break;
	case 4:         /*  right module */
		moduleX->htim_pwm->Instance->CCR4 = moduleX->pwm_duty_cycle;
		break;
	default:
		//error handling?
		break;
	}

}

void EPS_update_state(volatile EPS_State *state){

	/*adc ting*/
	ADC_EPS_STATE_Init();

	adc_reading_complete = 0;
	HAL_ADC_Start_DMA(&hadc, adc_measurement_dma_eps_state, 12);
	/*Wait till DMA ADC sequence transfer is ready*/
	while(adc_reading_complete==0){
 	}

//	HAL_ADC_Stop_DMA(&hadc);

	state->battery_voltage = adc_measurement_dma_eps_state[6];
	state->battery_current_plus = adc_measurement_dma_eps_state[7];
	state->battery_current_minus = adc_measurement_dma_eps_state[8];
	state->v3_3_current_avg = adc_measurement_dma_eps_state[9];
	state->v5_current_avg = adc_measurement_dma_eps_state[10];
	state->cpu_temperature = adc_measurement_dma_eps_state[11];

	/*i2c temp sensors*/
	//	  state->battery_temp;

}

void EPS_update_power_modules_state(EPS_PowerModule *module_top, EPS_PowerModule *module_bottom, EPS_PowerModule *module_left, EPS_PowerModule *module_right){

	/*adc ting*/
	ADC_EPS_POWER_MODULES_Init();
	adc_reading_complete = 0;
	HAL_ADC_Start_DMA(&hadc, adc_measurement_dma_power_modules, 136);

	/*Process Measurements*/
	uint32_t voltage_avg_top =0;
	uint32_t current_avg_top =0;
	uint32_t voltage_avg_bottom =0;
	uint32_t current_avg_bottom =0;
	uint32_t voltage_avg_left =0;
	uint32_t current_avg_left =0;
	uint32_t voltage_avg_right =0;
	uint32_t current_avg_right =0;

	/*Wait till DMA ADC sequence transfer is ready*/
	while(adc_reading_complete==0){
		//wait for dma transfer complete.
	}
//	HAL_ADC_Stop_DMA(&hadc);//stop transfer and turn off adc peripheral.

	//de-interleave and sum voltage and current measurements.
	for (int sum_index = 8; sum_index < 136; sum_index+=8) {
		/*top*/
		voltage_avg_top = voltage_avg_top + adc_measurement_dma_power_modules[sum_index];
		current_avg_top = current_avg_top + adc_measurement_dma_power_modules[sum_index+1];
		/*bottom*/
		voltage_avg_bottom = voltage_avg_bottom + adc_measurement_dma_power_modules[sum_index+2];
		current_avg_bottom = current_avg_bottom + adc_measurement_dma_power_modules[sum_index+3];
		/*left*/
		voltage_avg_left = voltage_avg_left + adc_measurement_dma_power_modules[sum_index+4];
		current_avg_left = current_avg_left + adc_measurement_dma_power_modules[sum_index+5];
		/*right*/
		voltage_avg_right = voltage_avg_right + adc_measurement_dma_power_modules[sum_index+6];
		current_avg_right = current_avg_right + adc_measurement_dma_power_modules[sum_index+7];
	}

	/*filter ting*/
	//average of 16 concecutive adc measurements.skip the first to avoid adc power up distortion.
	module_top->voltage = voltage_avg_top>>4;
	module_top->current = current_avg_top>>4;
	module_bottom->voltage = voltage_avg_bottom>>4;
	module_bottom->current = current_avg_bottom>>4;
	module_left->voltage = voltage_avg_left>>4;
	module_left->current = current_avg_left>>4;
	module_right->voltage = voltage_avg_right>>4;
	module_right->current = current_avg_right>>4;

	module_right->voltage = voltage_avg_top>>4;
	module_right->current = current_avg_top>>4;

}

void EPS_state_init(volatile EPS_State *state){

	state->su_p_switch = 0xff;
	state->adcs_p_switch = 0xff;
	state->comm_p_switch = 0xff;
	state->obc_p_switch = 0xff;
	state->i2c_tc74_p_switch = 0xff;

	state->deploy_left_switch = 0x00;
	state->deploy_right_switch = 0x00;
	state->deploy_bottom_switch = 0x00;
	state->deploy_ant1_switch = 0x00;
	state->umbilical_switch = 0x00;
	state->heaters_switch = 0x00;
	state->module_left_voltage_avg = 0x00;
	state->module_left_current_avg = 0x00;
	state->module_left_power_avg = 0x00;
	state->module_right_voltage_avg = 0x00;
	state->module_right_current_avg = 0x00;
	state->module_right_power_avg = 0x00;
	state->module_top_voltage_avg = 0x00;
	state->module_top_current_avg = 0x00;
	state->module_top_power_avg = 0x00;
	state->module_bottom_voltage_avg = 0x00;
	state->module_bottom_current_avg = 0x00;
	state->module_bottom_power_avg = 0x00;
	state->v5_current_avg = 0x00;
	state->v3_3_current_avg = 0x00;
	state->battery_voltage = 0x00;
	state->battery_current_plus = 0x00;
	state->battery_current_minus = 0x00;
	state->battery_temp = 0x00;

}

/* ADC init function for eps state only conversion */
void ADC_EPS_STATE_Init(void)
{

  ADC_ChannelConfTypeDef sConfig;

    /**Configure the global features of the ADC (Clock, Resolution, Data Alignment and number of conversion)
    */
//  hadc.Instance = ADC1;
//  hadc.Init.ClockPrescaler = ADC_CLOCK_ASYNC_DIV1;
//  hadc.Init.Resolution = ADC_RESOLUTION_12B;
//  hadc.Init.DataAlign = ADC_DATAALIGN_RIGHT;
//  hadc.Init.ScanConvMode = ADC_SCAN_ENABLE;
//  hadc.Init.EOCSelection = ADC_EOC_SINGLE_CONV;
//  hadc.Init.LowPowerAutoWait = ADC_AUTOWAIT_DISABLE;
//  hadc.Init.LowPowerAutoPowerOff = ADC_AUTOPOWEROFF_DISABLE;
//  hadc.Init.ChannelsBank = ADC_CHANNELS_BANK_A;
//  hadc.Init.ContinuousConvMode = ENABLE;
//  hadc.Init.DiscontinuousConvMode = DISABLE;
//  hadc.Init.ExternalTrigConv = ADC_SOFTWARE_START;
//  hadc.Init.ExternalTrigConvEdge = ADC_EXTERNALTRIGCONVEDGE_NONE;
//  hadc.Init.DMAContinuousRequests = ENABLE;
  hadc.Init.NbrOfConversion = 6;
  HAL_ADC_Init(&hadc);

  /*Vbat*/
  sConfig.Channel = ADC_CHANNEL_1;
  sConfig.Rank = 9;
  HAL_ADC_ConfigChannel(&hadc, &sConfig);

   /*Ibat+*/
  sConfig.Channel = ADC_CHANNEL_2;
  sConfig.Rank = 10;
  HAL_ADC_ConfigChannel(&hadc, &sConfig);

  /*Ibat-*/
  sConfig.Channel = ADC_CHANNEL_3;
  sConfig.Rank = 11;
  HAL_ADC_ConfigChannel(&hadc, &sConfig);

  /*I3v3*/
  sConfig.Channel = ADC_CHANNEL_4;
  sConfig.Rank = 12;
  HAL_ADC_ConfigChannel(&hadc, &sConfig);

  /*I5v*/
  sConfig.Channel = ADC_CHANNEL_12;
  sConfig.Rank = 13;
  HAL_ADC_ConfigChannel(&hadc, &sConfig);

  /*cpu internal temp sensor*/
  sConfig.Channel = ADC_CHANNEL_TEMPSENSOR;
  sConfig.Rank = 14;
  HAL_ADC_ConfigChannel(&hadc, &sConfig);

}

/* ADC init function to read eps state */
void ADC_EPS_POWER_MODULES_Init(void)
{

  ADC_ChannelConfTypeDef sConfig;

    /**Configure the global features of the ADC (Clock, Resolution, Data Alignment and number of conversion)
    */
//  hadc.Instance = ADC1;
//  hadc.Init.ClockPrescaler = ADC_CLOCK_ASYNC_DIV1;
//  hadc.Init.Resolution = ADC_RESOLUTION_12B;
//  hadc.Init.DataAlign = ADC_DATAALIGN_RIGHT;
//  hadc.Init.ScanConvMode = ADC_SCAN_ENABLE;
//  hadc.Init.EOCSelection = ADC_EOC_SINGLE_CONV;
//  hadc.Init.LowPowerAutoWait = ADC_AUTOWAIT_DISABLE;
//  hadc.Init.LowPowerAutoPowerOff = ADC_AUTOPOWEROFF_DISABLE;
//  hadc.Init.ChannelsBank = ADC_CHANNELS_BANK_A;
//  hadc.Init.ContinuousConvMode = ENABLE;
//  hadc.Init.DiscontinuousConvMode = DISABLE;
//  hadc.Init.ExternalTrigConv = ADC_SOFTWARE_START;
//  hadc.Init.ExternalTrigConvEdge = ADC_EXTERNALTRIGCONVEDGE_NONE;
//  hadc.Init.DMAContinuousRequests = ENABLE;
  hadc.Init.NbrOfConversion = 8;
  HAL_ADC_Init(&hadc);

  /*module top current*/
  sConfig.Channel = ADC_CHANNEL_18;
  sConfig.Rank = 1;
  sConfig.SamplingTime = ADC_SAMPLETIME_4CYCLES;
  HAL_ADC_ConfigChannel(&hadc, &sConfig);

  /*module top voltage*/
  sConfig.Channel = ADC_CHANNEL_19;
  sConfig.Rank = 2;
  HAL_ADC_ConfigChannel(&hadc, &sConfig);

  /*module bottom current*/
  sConfig.Channel = ADC_CHANNEL_11;
  sConfig.Rank = 3;
  HAL_ADC_ConfigChannel(&hadc, &sConfig);

  /*module bottom voltage*/
  sConfig.Channel = ADC_CHANNEL_10;
  sConfig.Rank = 4;
  HAL_ADC_ConfigChannel(&hadc, &sConfig);

  /*module left current*/
  sConfig.Channel = ADC_CHANNEL_5;
  sConfig.Rank = 5;
  HAL_ADC_ConfigChannel(&hadc, &sConfig);

  /*module left voltage*/
  sConfig.Channel = ADC_CHANNEL_6;
  sConfig.Rank = 6;
  HAL_ADC_ConfigChannel(&hadc, &sConfig);

  /*module right current*/
  sConfig.Channel = ADC_CHANNEL_20;
  sConfig.Rank = 7;
  HAL_ADC_ConfigChannel(&hadc, &sConfig);

  /*module right voltage*/
  sConfig.Channel = ADC_CHANNEL_21;
  sConfig.Rank = 8;
  HAL_ADC_ConfigChannel(&hadc, &sConfig);

}

// ADC DMA interrupt handler
void HAL_ADC_ConvCpltCallback( ADC_HandleTypeDef * hadc){
    //printf("ADC conversion done.\n");
    //HAL_ADC_Stop_DMA(hadc);

	HAL_ADC_Stop_DMA(hadc);
	HAL_ADC_Stop(hadc);
    adc_reading_complete = 1;
}

/* USER CODE END 4 */

/************************ (C) COPYRIGHT STMicroelectronics *****END OF FILE****/
